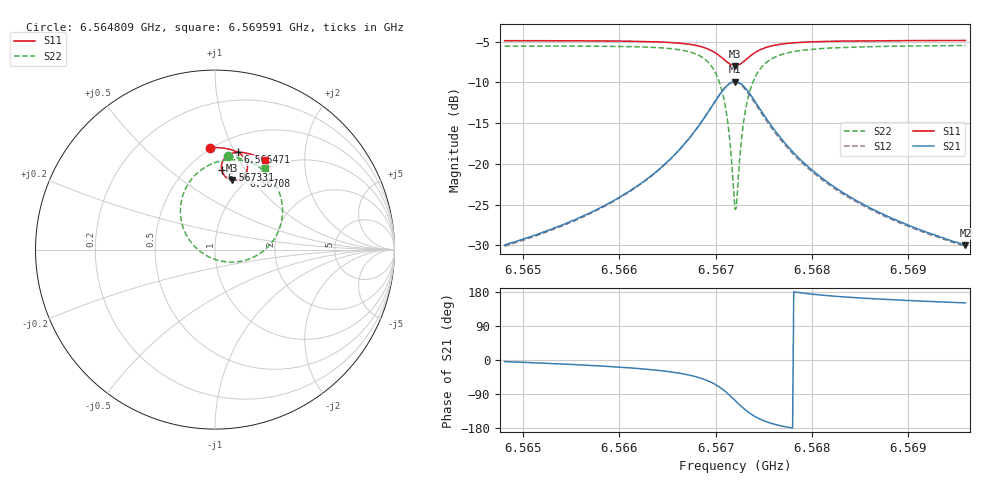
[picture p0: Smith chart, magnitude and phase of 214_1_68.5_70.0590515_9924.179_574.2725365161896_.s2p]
#  HZ  S  RI  R  50.00
! Rohde & Schwarz Vector Network Analyzer
! Rohde-Schwarz,ZNB20-2Port,1311601062101988,3.16
! Created: UTC 3/20/2024, 5:13:16 PM
! freq[Hz]  re:S11  im:S11  re:S21  im:S21  re:S12  im:S12  re:S22  im:S22
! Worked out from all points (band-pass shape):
!   401 points, 6.564809 GHz to 6.569591 GHz, reference 50 ohm
!   highest |S21| = -9.91 dB at 6.5672 GHz (marker M1); lowest = -30.0 dB at 6.569591 GHz (marker M2)
!   |S21| within 3 dB of the highest: 6.566962 GHz to 6.567439 GHz (476.9 kHz wide, 0.00726 % of centre)
!   lowest |S11| = -8.0 dB at 6.5672 GHz (marker M3), VSWR 2.33, Z = 43.1 + j39.8 ohm
!   |S11| at or under -10 dB: nowhere
!   |S22| runs from -25.6 to -5.5 dB; largest |S21 - S12| = 0.016
!   S11 on the Smith chart (normalised r, x): 6.564809 GHz: 0.49, +0.82; 6.566471 GHz: 0.65, +1.03; 6.56708 GHz: 0.93, +0.94; 6.567331 GHz: 0.71, +0.79; 6.569591 GHz: 0.88, +1.30
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6.5648088e9  -0.0276 0.5683  0.0317 -0.00236  0.0312 -0.00276  0.0747 0.5215
6.5656098e9  0.0398 0.5664  0.0462 -0.0109  0.0455 -0.0114  0.156 0.5031
6.5660282e9  0.0788 0.5597  0.0603 -0.0212  0.0593 -0.0218  0.2102 0.4803
6.5664107e9  0.1195 0.5458  0.082 -0.0429  0.0808 -0.0439  0.276 0.4355
6.5664705e9  0.1265 0.5421  0.0867 -0.0488  0.0854 -0.0498  0.2886 0.4237
6.5667096e9  0.1572 0.519  0.1086 -0.0881  0.107 -0.0899  0.3452 0.3467
6.5668889e9  0.1783 0.482  0.1199 -0.1529  0.1167 -0.1564  0.3767 0.2214
6.5669965e9  0.1794 0.444  0.1034 -0.2197  0.0975 -0.2243  0.3498 0.0943
6.5670802e9  0.1605 0.4087  0.0536 -0.28  0.043 -0.2835  0.2564 -0.0174
6.567128e9  0.1377 0.3926  0.00345 -0.3055  -0.01 -0.3059  0.1625 -0.0611
6.5671878e9  0.0998 0.3868  -0.0751 -0.3099  -0.0897 -0.3044  0.0202 -0.0607
6.5671998e9  0.092 0.3881  -0.0911 -0.3061  -0.1054 -0.299  -0.00803 -0.0519
6.5672237e9  0.0769 0.3936  -0.1216 -0.2938  -0.1345 -0.2843  -0.0604 -0.0258
6.5672715e9  0.0526 0.4122  -0.1704 -0.2544  -0.1796 -0.2416  -0.1409 0.0507
6.5673313e9  0.0373 0.4433  -0.2033 -0.1931  -0.2065 -0.1796  -0.1881 0.1629
6.5674269e9  0.0407 0.4867  -0.2049 -0.109  -0.2028 -0.0987  -0.1766 0.3095
6.5675704e9  0.0682 0.5224  -0.1689 -0.0399  -0.1651 -0.034  -0.0994 0.4257
6.5677377e9  0.1002 0.538  -0.1298 -0.00699  -0.1265 -0.00385  -0.018 0.4776
6.5680007e9  0.1392 0.5423  -0.0909 0.01  -0.0886 0.0115  0.0681 0.4996
6.5683474e9  0.1782 0.5371  -0.0633 0.0155  -0.0617 0.0162  0.1391 0.4987
6.5688017e9  0.2193 0.5248  -0.0442 0.0167  -0.0432 0.0169  0.2013 0.4854
6.5695907e9  0.28 0.4972  -0.0277 0.0154  -0.0272 0.0156  0.277 0.4534
